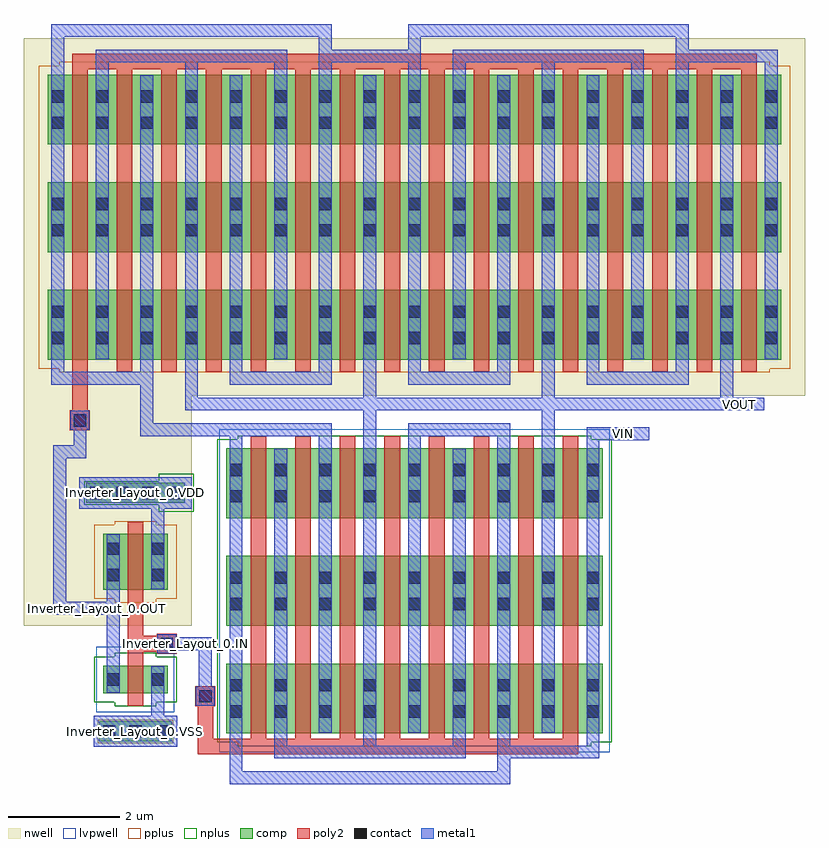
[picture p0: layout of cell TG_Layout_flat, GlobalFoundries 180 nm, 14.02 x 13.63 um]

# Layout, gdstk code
import gdstk
lib = gdstk.Library(unit=1e-6, precision=1e-09)
def R(c, l, rs):  # rectangles x0, y0, x1, y1
    for r in rs: c.add(gdstk.rectangle(r[:2], r[2:], *l))
def A(c, l, x, y, w, h, nx, ny, dx, dy):  # array of equal rectangles
    R(c, l, [(x+i*dx, y+j*dy, x+i*dx+w, y+j*dy+h) for i in range(nx) for j in range(ny)])
nwell = (21, 0)
comp = (22, 0)
poly2 = (30, 0)
pplus = (31, 0)
nplus = (32, 0)
contact = (33, 0)
metal1 = (34, 0)
lvpwell = (204, 0)

tg_layout_flat = lib.new_cell('TG_Layout_flat')
R(tg_layout_flat, nwell, [(0.305,2.865,3.32,6.99), (0.305,6.99,14.325,13.4)])
A(tg_layout_flat, comp, 3.935, 0.94, 6.76, 1.25, 1, 3, 0, 1.93)
A(tg_layout_flat, comp, 0.735, 7.64, 13.16, 1.25, 1, 3, 0, 1.93)
R(tg_layout_flat, comp, [(1.66,0.795,2.96,1.155), (1.73,1.655,2.89,2.155), (1.73,3.515,2.89,4.515), (1.425,5.07,3.195,5.43)])
A(tg_layout_flat, poly2, 4.375, 0.84, 0.28, 5.43, 8, 1, 0.8, 0)
A(tg_layout_flat, poly2, 1.975, 7.42, 0.28, 5.43, 15, 1, 0.8, 0)
R(tg_layout_flat, poly2, [(3.425,0.56,10.255,0.84), (3.425,0.84,3.705,1.425), (3.385,1.425,3.745,1.785), (2.17,1.435,2.45,2.405), (2.69,2.365,3.05,2.405), (2.17,2.405,3.05,2.685), (2.17,2.685,2.45,4.735), (2.69,2.685,3.05,2.725), (1.135,6.37,1.495,6.73), (1.175,6.73,1.455,12.85), (1.175,12.85,13.455,13.13)])
R(tg_layout_flat, pplus, [(1.63,0.765,2.99,1.185), (1.94,3.285,2.68,3.355), (1.57,3.355,3.05,4.675), (1.94,4.675,2.68,4.745), (0.945,7.41,13.685,7.48), (0.575,7.48,14.055,12.91), (0.945,12.91,13.685,12.98)])
R(tg_layout_flat, nplus, [(4.145,0.71,10.485,0.78), (3.775,0.78,10.855,6.21), (1.94,1.425,2.68,1.495), (1.57,1.495,3.05,2.315), (1.94,2.315,2.68,2.385), (2.73,4.91,3.355,5.04), (1.395,5.04,3.355,5.46), (2.73,5.46,3.355,5.59), (4.145,6.21,10.485,6.28)])
A(tg_layout_flat, contact, 1.73, 0.865, 0.22, 0.22, 3, 1, 0.47, 0)
A(tg_layout_flat, contact, 4.005, 1.22, 0.22, 0.22, 9, 2, 0.8, 0.47)
A(tg_layout_flat, contact, 4.005, 3.15, 0.22, 0.22, 9, 2, 0.8, 0.47)
A(tg_layout_flat, contact, 4.005, 5.08, 0.22, 0.22, 9, 2, 0.8, 0.47)
A(tg_layout_flat, contact, 1.495, 5.14, 0.22, 0.22, 4, 1, 0.47, 0)
A(tg_layout_flat, contact, 0.805, 7.92, 0.22, 0.22, 17, 2, 0.8, 0.47)
A(tg_layout_flat, contact, 0.805, 9.85, 0.22, 0.22, 17, 2, 0.8, 0.47)
A(tg_layout_flat, contact, 0.805, 11.78, 0.22, 0.22, 17, 2, 0.8, 0.47)
R(tg_layout_flat, contact, [(3.455,1.495,3.675,1.715), (1.8,1.795,2.02,2.015), (2.6,1.795,2.82,2.015), (2.76,2.435,2.98,2.655), (1.8,3.67,2.02,3.89), (2.6,3.67,2.82,3.89), (1.8,4.14,2.02,4.36), (2.6,4.14,2.82,4.36), (1.205,6.44,1.425,6.66)])
A(tg_layout_flat, metal1, 0.8, 7.19, 1.83, 0.23, 3, 1, 3.2, 0)
A(tg_layout_flat, metal1, 1.6, 7.65, 0.23, 5.32, 4, 1, 3.2, 0)
R(tg_layout_flat, metal1, [(4,0.03,9.03,0.26), (4,0.26,4.23,6.27), (8.8,0.26,9.03,0.49), (4.8,0.49,8.23,0.72), (8.8,0.49,10.63,0.72), (1.56,0.695,3.06,1.255), (4.8,0.72,5.03,6.04), (6.4,0.72,6.63,6.73), (8,0.72,8.23,6.04), (8.8,0.72,9.03,6.27), (10.4,0.72,10.63,6.195), (5.6,0.95,5.83,6.27), (7.2,0.95,7.43,6.27), (9.6,0.95,9.83,6.73), (2.595,1.255,2.825,2.145), (3.395,1.435,3.735,1.775), (1.795,1.665,2.025,3.065), (3.45,1.775,3.68,2.43), (2.7,2.375,3.04,2.43), (2.7,2.43,3.68,2.66), (2.7,2.66,3.04,2.715), (0.84,3.065,2.025,3.295), (0.84,3.295,1.07,5.875), (1.795,3.295,2.025,4.505), (2.595,3.525,2.825,4.97), (1.3,4.97,3.32,5.53), (0.84,5.875,1.43,6.105), (1.2,6.105,1.43,6.38), (10.4,6.195,11.525,6.425), (2.4,6.27,5.83,6.5), (7.2,6.27,9.03,6.5), (1.145,6.38,1.485,6.72), (2.4,6.5,2.63,7.19), (3.2,6.73,13.585,6.96), (3.2,6.96,3.43,12.97), (6.4,6.96,6.63,12.74), (9.6,6.96,9.83,12.97), (12.8,6.96,13.03,12.74), (10.4,7.19,12.235,7.42), (0.8,7.42,1.03,13.43), (2.4,7.42,2.63,12.74), (4,7.42,4.23,12.74), (5.6,7.42,5.83,12.97), (7.2,7.42,7.43,12.97), (8.8,7.42,9.03,12.74), (10.4,7.42,10.63,12.74), (12,7.42,12.23,12.97), (13.6,7.65,13.83,12.97), (1.6,12.97,5.03,13.2), (5.6,12.97,7.43,13.2), (8,12.97,11.43,13.2), (12,12.97,13.83,13.2), (5.6,13.2,5.83,13.43), (7.2,13.2,7.43,13.43), (12,13.2,12.23,13.43), (0.8,13.43,5.83,13.66), (7.2,13.43,12.23,13.66)])
R(tg_layout_flat, lvpwell, [(3.815,0.6,10.815,6.39), (1.61,1.315,3.01,2.495)])
tg_layout_flat.add(gdstk.Label('Inverter_Layout_0.VSS', (2.31,0.975), layer=34, texttype=0))
tg_layout_flat.add(gdstk.Label('Inverter_Layout_0.VDD', (2.31,5.265), layer=34, texttype=0))
tg_layout_flat.add(gdstk.Label('Inverter_Layout_0.IN', (3.21,2.545), layer=34, texttype=0))
tg_layout_flat.add(gdstk.Label('Inverter_Layout_0.OUT', (1.615,3.18), layer=34, texttype=0))
tg_layout_flat.add(gdstk.Label('CLK', (3.41,2.545), layer=34, texttype=10))
tg_layout_flat.add(gdstk.Label('VIN', (11.055,6.31), layer=34, texttype=10))
tg_layout_flat.add(gdstk.Label('VOUT', (13.14,6.845), layer=34, texttype=10))
tg_layout_flat.add(gdstk.Label('VDD', (2.545,5.25), layer=34, texttype=10))
tg_layout_flat.add(gdstk.Label('VSS', (2.31,0.97), layer=34, texttype=10))

lib.write_gds('TG_Layout_flat.gds')
